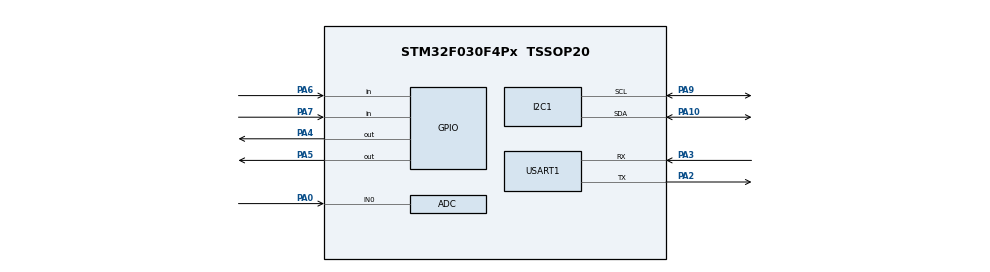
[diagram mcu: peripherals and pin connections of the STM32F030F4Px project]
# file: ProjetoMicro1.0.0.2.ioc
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Mcu.Family=STM32F0
Mcu.Name=STM32F030F4Px
Mcu.Package=TSSOP20
PA0.Mode=IN0
PA0.Signal=ADC_IN0
PA10.Mode=I2C
PA10.Signal=I2C1_SDA
PA13.Mode=Serial_Wire
PA13.Signal=SYS_SWDIO
PA14.Mode=Serial_Wire
PA14.Signal=SYS_SWCLK
PA2.Mode=Asynchronous
PA2.Signal=USART1_TX
PA3.Mode=Asynchronous
PA3.Signal=USART1_RX
PA4.Signal=GPIO_Output
PA5.Signal=GPIO_Output
PA6.GPIO_PuPd=GPIO_PULLDOWN
PA6.Signal=GPIO_Input
PA7.GPIO_PuPd=GPIO_PULLDOWN
PA7.Signal=GPIO_Input
PA9.Mode=I2C
PA9.Signal=I2C1_SCL
ProjectManager.HeapSize=0x200
ProjectManager.StackSize=0x400
ProjectManager.TargetToolchain=TrueSTUDIO
USART1.VirtualMode-Asynchronous=VM_ASYNC
VP_TIM1_VS_ClockSourceINT.Mode=Internal
board=custom

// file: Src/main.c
/**
  ******************************************************************************
  * @file           : main.c
  * @brief          : Main program body
  ******************************************************************************
  ** This notice applies to any and all portions of this file
  * that are not between comment pairs USER CODE BEGIN and
  * USER CODE END. Other portions of this file, whether
  * inserted by the user or by software development tools
  * are owned by their respective copyright owners.
  *
  * COPYRIGHT(c) 2018 STMicroelectronics
  *
  * Redistribution and use in source and binary forms, with or without modification,
  * are permitted provided that the following conditions are met:
  *   1. Redistributions of source code must retain the above copyright notice,
  *      this list of conditions and the following disclaimer.
  *   2. Redistributions in binary form must reproduce the above copyright notice,
  *      this list of conditions and the following disclaimer in the documentation
  *      and/or other materials provided with the distribution.
  *   3. Neither the name of STMicroelectronics nor the names of its contributors
  *      may be used to endorse or promote products derived from this software
  *      without specific prior written permission.
  *
  * THIS SOFTWARE IS PROVIDED BY THE COPYRIGHT HOLDERS AND CONTRIBUTORS "AS IS"
  * AND ANY EXPRESS OR IMPLIED WARRANTIES, INCLUDING, BUT NOT LIMITED TO, THE
  * IMPLIED WARRANTIES OF MERCHANTABILITY AND FITNESS FOR A PARTICULAR PURPOSE ARE
  * DISCLAIMED. IN NO EVENT SHALL THE COPYRIGHT HOLDER OR CONTRIBUTORS BE LIABLE
  * FOR ANY DIRECT, INDIRECT, INCIDENTAL, SPECIAL, EXEMPLARY, OR CONSEQUENTIAL
  * DAMAGES (INCLUDING, BUT NOT LIMITED TO, PROCUREMENT OF SUBSTITUTE GOODS OR
  * SERVICES; LOSS OF USE, DATA, OR PROFITS; OR BUSINESS INTERRUPTION) HOWEVER
  * CAUSED AND ON ANY THEORY OF LIABILITY, WHETHER IN CONTRACT, STRICT LIABILITY,
  * OR TORT (INCLUDING NEGLIGENCE OR OTHERWISE) ARISING IN ANY WAY OUT OF THE USE
  * OF THIS SOFTWARE, EVEN IF ADVISED OF THE POSSIBILITY OF SUCH DAMAGE.
  *
  ******************************************************************************
  */
#include "main.h"
#include "stm32f0xx_hal.h"
#include "i2c-lcd.h"
#include <stdio.h>

volatile uint32_t counter = 0;
void reverse(char *str, int len)
{
	int i=0, j=len-1, temp;
	while (i<j)
	{
    	temp = str[i];
    	str[i] = str[j];
    	str[j] = temp;
    	i++; j--;
	}
}

int intToStr(int x, char str[], int d)
{
	int i = 0;
	while (x)
	{
    	str[i++] = (x%10) + '0';
    	x = x/10;
	}

	// If number of digits required is more, then
	// add 0s at the beginning
	while (i < d)
    	str[i++] = '0';

	reverse(str, i);
	str[i] = '\0';
	return i;
}

// Converts a floating point number to string.
void ftoa(float n, char *res)
{
	// Extract integer part
	int ipart = (int)n;

	// Extract floating part
	float fpart = n - (float)ipart;

	// convert integer part to string
	int i = intToStr(ipart, res,0);

	// check for display option after point
	//if (afterpoint != 0)
	//{
    	res[i] = '.';  // add dot

    	// Get the value of fraction part upto given no.
    	// of points after dot. The third parameter is needed
    	// to handle cases like 233.007
     	fpart = fpart * 100.0 ; // pow(10, afterpoint);

    	intToStr((int)fpart, res + i + 1,2);
	//}
}

ADC_HandleTypeDef hadc;

I2C_HandleTypeDef hi2c1;

TIM_HandleTypeDef htim1;

UART_HandleTypeDef huart1;

/* USER CODE BEGIN PV */
/* Private variables ---------------------------------------------------------*/

/* USER CODE END PV */

void SystemClock_Config(void);
static void MX_GPIO_Init(void);
static void MX_ADC_Init(void);
static void MX_I2C1_Init(void);
static void MX_USART1_UART_Init(void);
static void MX_TIM1_Init(void);
void HAL_SYSTICK_Callback(void);
uint32_t getTick();

/* USER CODE BEGIN PFP */
/* Private function prototypes -----------------------------------------------*/

/* USER CODE END PFP */

int main(void)
{
  /* USER CODE BEGIN 1 */
	const float r = 253600.0;
	const float r2 = 4950.0;
  /* USER CODE END 1 */

  /* MCU Configuration----------------------------------------------------------*/

  /* Reset of all peripherals, Initializes the Flash interface and the Systick. */
  HAL_Init();

  /* Configure the system clock */
  SystemClock_Config();

  /* Initialize all configured peripherals */
  MX_GPIO_Init();
  MX_ADC_Init();
  MX_I2C1_Init();
  MX_USART1_UART_Init();
  MX_TIM1_Init();
  /* USER CODE BEGIN 2 */
  	lcd_init ();
	lcd_send_cmd(0x01);
	HAL_Delay(50);
	lcd_send_string("Selecione o modo");
	lcd_send_cmd(0xC0);
	lcd_send_string("C ou L");
	int a = 0;
	while(1){
	  if(HAL_GPIO_ReadPin(GPIOA,GPIO_PIN_7) == 1){
		  break;
	  }
	  if(HAL_GPIO_ReadPin(GPIOA,GPIO_PIN_6) == 1){
		  a = 1 ;
		  break;
	  }
	}
	while(HAL_GPIO_ReadPin(GPIOA,GPIO_PIN_7) == 1 || HAL_GPIO_ReadPin(GPIOA,GPIO_PIN_6) == 1);
	int iniTime = 0;
	int finTime = 0;
	HAL_UART_Init(&huart1);
	char teste[16];

  /* USER CODE END 2 */

  /* Infinite loop */
  /* USER CODE BEGIN WHILE */
  while (1)
  {

	  if(a == 0){
		  lcd_send_cmd(0x01);
		  HAL_Delay(50);
		  lcd_send_cmd(0x80);
		  lcd_send_string("Insira o cap.");
		  while(1){
			  if(HAL_GPIO_ReadPin(GPIOA,GPIO_PIN_7) == 1){
					  break;
				}
		  }
		  while(HAL_GPIO_ReadPin(GPIOA,GPIO_PIN_7) == 1);
			  lcd_send_cmd(0x01);
			  HAL_Delay(50);
			  lcd_send_cmd(0x80);
			  lcd_send_string("Medindo C...");
			  HAL_GPIO_WritePin(GPIOA,GPIO_PIN_4,1);

			  HAL_ADC_Start(&hadc);
			  while(HAL_ADC_GetValue(&hadc) < 2482 ){
					  HAL_ADC_Start(&hadc);
			  }
			  HAL_GPIO_WritePin(GPIOA,GPIO_PIN_4,0);
			  HAL_ADC_Start(&hadc);
			  iniTime = getTick();
			  while(HAL_ADC_GetValue(&hadc) > 914){
				  HAL_ADC_Start(&hadc);
			  }
			  finTime = getTick();
			  float rc = finTime - iniTime;
			  rc  =  rc/1000;
			  float C = rc/r;
			  char str[12];
			  char i = 0;
			  if (C <= 0.000001 && C >= 0.000000001 ){
				  C = C*1000000000.0;
			  }
			  if (C <= 0.001 && C > 0.000001){
				  C = C*1000000;
				  i = 1;
			  }
			  char strMat[10];
			  ftoa(C,str);
			  ftoa(C,strMat);
			  lcd_send_cmd(0x01);
			  HAL_Delay(50);
			  lcd_send_cmd(0x80);
			  if (i == 0){
				  int j = 0;
				  while(str[j] != '\0'){
					  j++;
				  }
				  str[j] = ' ';
				  str[j+1] = 'n';
				  str[j+2] = 'F';
			  }
			  else{
				  int j = 0;
				  while(str[j] != '\0'){
				  	  j++;
				  }
				  str[j] = ' ';
				  str[j+1] = 'u';
				  str[j+2] = 'F';
			  }
			  lcd_send_string(str);
			  char dado[4];
			  while(1){
				  HAL_UART_Receive(&huart1,(uint8_t *) dado,4,100);
				  while(dado[0] != 'b');
				  HAL_UART_Transmit(&huart1,(uint8_t *) strMat,10,100);
				  HAL_UART_Transmit(&huart1,(uint8_t *) '\n',1,100);
				  HAL_UART_Transmit(&huart1,(uint8_t *) i,1,100);
			  }
			  while(1){
						if(HAL_GPIO_ReadPin(GPIOA,GPIO_PIN_7) == 1){
								  break;
						 }
			  }
			  while(HAL_GPIO_ReadPin(GPIOA,GPIO_PIN_7) == 1);

	  	  }else {
	  		lcd_send_cmd(0x01);
			  HAL_Delay(50);
			  lcd_send_cmd(0x80);
			  lcd_send_string("Insira o ind...");
			  while(1){
				  if(HAL_GPIO_ReadPin(GPIOA,GPIO_PIN_6) == 1){
						  break;
					}
			  }
			  while(HAL_GPIO_ReadPin(GPIOA,GPIO_PIN_6) == 1);
				  lcd_send_cmd(0x01);
				  HAL_Delay(50);
				  lcd_send_cmd(0x80);
				  lcd_send_string("Medindo L...");
				  HAL_GPIO_WritePin(GPIOA,GPIO_PIN_5,1);
				  HAL_ADC_Start(&hadc);
				  iniTime = getTick();
				  while(HAL_ADC_GetValue(&hadc) > 1507){
					  HAL_ADC_Start(&hadc);
				  }
				  finTime = getTick();
				  float LdivR = finTime - iniTime;
				  float l = 0;
				  l = LdivR*r2;
				  char str[10];
				  lcd_send_cmd(0x01);
				  HAL_Delay(50);
				  lcd_send_cmd(0x80);
				  int i = 0;
				  if(l >= 0.001){
					  l*= 1000;
					  i = 0 ;
				  }else if (l < 0.001){
					  l*= 1000000;
				  }
				  char strMat[10];
				  ftoa(l,str);
				  ftoa(l,strMat);
				  if (i == 0){
					  int j = 0;
					  while(str[j] != '\0'){
						  j++;
					  }
					  str[j] = ' ';
					  str[j+1] = 'm';
					  str[j+2] = 'H';
				  }
				  else{
					  int j = 0;
					  while(str[j] != '\0'){
						  j++;
					  }
					  str[j] = ' ';
					  str[j+1] = 'u';
					  str[j+2] = 'H';
				  }
				  lcd_send_string(str);
				  char dado[4];
				  while(1){
					  HAL_UART_Receive(&huart1,(uint8_t *) dado,4,100);
					  while(dado[0] != 'b');
					  HAL_UART_Transmit(&huart1,(uint8_t *) strMat,10,100);
					  HAL_UART_Transmit(&huart1,(uint8_t *) '\n',1,100);
					  HAL_UART_Transmit(&huart1,(uint8_t *) i,1,100);
				  }
				  while(1){
							if(HAL_GPIO_ReadPin(GPIOA,GPIO_PIN_6) == 1){
									  break;
							 }
				  }
				  while(HAL_GPIO_ReadPin(GPIOA,GPIO_PIN_6) == 1);
	  	  }

  }
  /* USER CODE END WHILE */

}

void SystemClock_Config(void)
{

  RCC_OscInitTypeDef RCC_OscInitStruct;
  RCC_ClkInitTypeDef RCC_ClkInitStruct;
  RCC_PeriphCLKInitTypeDef PeriphClkInit;

    /**Initializes the CPU, AHB and APB busses clocks
    */
  RCC_OscInitStruct.OscillatorType = RCC_OSCILLATORTYPE_HSI|RCC_OSCILLATORTYPE_HSI14;
  RCC_OscInitStruct.HSIState = RCC_HSI_ON;
  RCC_OscInitStruct.HSI14State = RCC_HSI14_ON;
  RCC_OscInitStruct.HSICalibrationValue = 16;
  RCC_OscInitStruct.HSI14CalibrationValue = 16;
  RCC_OscInitStruct.PLL.PLLState = RCC_PLL_NONE;
  if (HAL_RCC_OscConfig(&RCC_OscInitStruct) != HAL_OK)
  {
    _Error_Handler(__FILE__, __LINE__);
  }

    /**Initializes the CPU, AHB and APB busses clocks
    */
  RCC_ClkInitStruct.ClockType = RCC_CLOCKTYPE_HCLK|RCC_CLOCKTYPE_SYSCLK
                              |RCC_CLOCKTYPE_PCLK1;
  RCC_ClkInitStruct.SYSCLKSource = RCC_SYSCLKSOURCE_HSI;
  RCC_ClkInitStruct.AHBCLKDivider = RCC_SYSCLK_DIV1;
  RCC_ClkInitStruct.APB1CLKDivider = RCC_HCLK_DIV1;

  if (HAL_RCC_ClockConfig(&RCC_ClkInitStruct, FLASH_LATENCY_0) != HAL_OK)
  {
    _Error_Handler(__FILE__, __LINE__);
  }

  PeriphClkInit.PeriphClockSelection = RCC_PERIPHCLK_USART1|RCC_PERIPHCLK_I2C1;
  PeriphClkInit.Usart1ClockSelection = RCC_USART1CLKSOURCE_PCLK1;
  PeriphClkInit.I2c1ClockSelection = RCC_I2C1CLKSOURCE_HSI;
  if (HAL_RCCEx_PeriphCLKConfig(&PeriphClkInit) != HAL_OK)
  {
    _Error_Handler(__FILE__, __LINE__);
  }

    /**Configure the Systick interrupt time
    */
  HAL_SYSTICK_Config(HAL_RCC_GetHCLKFreq()/1000);

    /**Configure the Systick
    */
  HAL_SYSTICK_CLKSourceConfig(SYSTICK_CLKSOURCE_HCLK);

  /* SysTick_IRQn interrupt configuration */
  HAL_NVIC_SetPriority(SysTick_IRQn, 0, 0);
}

/* ADC init function */
static void MX_ADC_Init(void)
{

  ADC_ChannelConfTypeDef sConfig;

    /**Configure the global features of the ADC (Clock, Resolution, Data Alignment and number of conversion)
    */
  hadc.Instance = ADC1;
  hadc.Init.ClockPrescaler = ADC_CLOCK_ASYNC_DIV1;
  hadc.Init.Resolution = ADC_RESOLUTION_12B;
  hadc.Init.DataAlign = ADC_DATAALIGN_RIGHT;
  hadc.Init.ScanConvMode = ADC_SCAN_DIRECTION_FORWARD;
  hadc.Init.EOCSelection = ADC_EOC_SINGLE_CONV;
  hadc.Init.LowPowerAutoWait = DISABLE;
  hadc.Init.LowPowerAutoPowerOff = DISABLE;
  hadc.Init.ContinuousConvMode = DISABLE;
  hadc.Init.DiscontinuousConvMode = DISABLE;
  hadc.Init.ExternalTrigConv = ADC_SOFTWARE_START;
  hadc.Init.ExternalTrigConvEdge = ADC_EXTERNALTRIGCONVEDGE_NONE;
  hadc.Init.DMAContinuousRequests = DISABLE;
  hadc.Init.Overrun = ADC_OVR_DATA_PRESERVED;
  if (HAL_ADC_Init(&hadc) != HAL_OK)
  {
    _Error_Handler(__FILE__, __LINE__);
  }

    /**Configure for the selected ADC regular channel to be converted.
    */
  sConfig.Channel = ADC_CHANNEL_0;
  sConfig.Rank = ADC_RANK_CHANNEL_NUMBER;
  sConfig.SamplingTime = ADC_SAMPLETIME_1CYCLE_5;
  if (HAL_ADC_ConfigChannel(&hadc, &sConfig) != HAL_OK)
  {
    _Error_Handler(__FILE__, __LINE__);
  }

}

uint32_t getTick(){
	return counter;
}

void HAL_SYSTICK_Callback(void){
	counter++;
}

/* I2C1 init function */
static void MX_I2C1_Init(void)
{

  hi2c1.Instance = I2C1;
  hi2c1.Init.Timing = 0x2000090E;
  hi2c1.Init.OwnAddress1 = 0;
  hi2c1.Init.AddressingMode = I2C_ADDRESSINGMODE_7BIT;
  hi2c1.Init.DualAddressMode = I2C_DUALADDRESS_DISABLE;
  hi2c1.Init.OwnAddress2 = 0;
  hi2c1.Init.OwnAddress2Masks = I2C_OA2_NOMASK;
  hi2c1.Init.GeneralCallMode = I2C_GENERALCALL_DISABLE;
  hi2c1.Init.NoStretchMode = I2C_NOSTRETCH_DISABLE;
  if (HAL_I2C_Init(&hi2c1) != HAL_OK)
  {
    _Error_Handler(__FILE__, __LINE__);
  }

    /**Configure Analogue filter
    */
  if (HAL_I2CEx_ConfigAnalogFilter(&hi2c1, I2C_ANALOGFILTER_ENABLE) != HAL_OK)
  {
    _Error_Handler(__FILE__, __LINE__);
  }

    /**Configure Digital filter
    */
  if (HAL_I2CEx_ConfigDigitalFilter(&hi2c1, 0) != HAL_OK)
  {
    _Error_Handler(__FILE__, __LINE__);
  }

}

/* TIM1 init function */
static void MX_TIM1_Init(void)
{

  TIM_ClockConfigTypeDef sClockSourceConfig;
  TIM_MasterConfigTypeDef sMasterConfig;

  htim1.Instance = TIM1;
  htim1.Init.Prescaler = 0;
  htim1.Init.CounterMode = TIM_COUNTERMODE_UP;
  htim1.Init.Period = 0;
  htim1.Init.ClockDivision = TIM_CLOCKDIVISION_DIV1;
  htim1.Init.RepetitionCounter = 0;
  htim1.Init.AutoReloadPreload = TIM_AUTORELOAD_PRELOAD_DISABLE;
  if (HAL_TIM_Base_Init(&htim1) != HAL_OK)
  {
    _Error_Handler(__FILE__, __LINE__);
  }

  sClockSourceConfig.ClockSource = TIM_CLOCKSOURCE_INTERNAL;
  if (HAL_TIM_ConfigClockSource(&htim1, &sClockSourceConfig) != HAL_OK)
  {
    _Error_Handler(__FILE__, __LINE__);
  }

  sMasterConfig.MasterOutputTrigger = TIM_TRGO_RESET;
  sMasterConfig.MasterSlaveMode = TIM_MASTERSLAVEMODE_DISABLE;
  if (HAL_TIMEx_MasterConfigSynchronization(&htim1, &sMasterConfig) != HAL_OK)
  {
    _Error_Handler(__FILE__, __LINE__);
  }

}

/* USART1 init function */
static void MX_USART1_UART_Init(void)
{

  huart1.Instance = USART1;
  huart1.Init.BaudRate = 9600;
  huart1.Init.WordLength = UART_WORDLENGTH_8B;
  huart1.Init.StopBits = UART_STOPBITS_1;
  huart1.Init.Parity = UART_PARITY_NONE;
  huart1.Init.Mode = UART_MODE_TX_RX;
  huart1.Init.HwFlowCtl = UART_HWCONTROL_NONE;
  huart1.Init.OverSampling = UART_OVERSAMPLING_16;
  huart1.Init.OneBitSampling = UART_ONE_BIT_SAMPLE_DISABLE;
  huart1.AdvancedInit.AdvFeatureInit = UART_ADVFEATURE_NO_INIT;
  if (HAL_UART_Init(&huart1) != HAL_OK)
  {
    _Error_Handler(__FILE__, __LINE__);
  }

}

/** Configure pins as
        * Analog
        * Input
        * Output
        * EVENT_OUT
        * EXTI
*/
static void MX_GPIO_Init(void)
{

  GPIO_InitTypeDef GPIO_InitStruct;

  /* GPIO Ports Clock Enable */
  __HAL_RCC_GPIOA_CLK_ENABLE();

  /*Configure GPIO pin Output Level */
  HAL_GPIO_WritePin(GPIOA, GPIO_PIN_4, GPIO_PIN_RESET);

  /*Configure GPIO pin : PA4 */
  GPIO_InitStruct.Pin = GPIO_PIN_4|GPIO_PIN_5;
  GPIO_InitStruct.Mode = GPIO_MODE_OUTPUT_PP;
  GPIO_InitStruct.Pull = GPIO_NOPULL;
  GPIO_InitStruct.Speed = GPIO_SPEED_FREQ_LOW;
  HAL_GPIO_Init(GPIOA, &GPIO_InitStruct);

  /*Configure GPIO pins : PA5 PA6 PA7 */
  GPIO_InitStruct.Pin = GPIO_PIN_6|GPIO_PIN_7;
  GPIO_InitStruct.Mode = GPIO_MODE_INPUT;
  GPIO_InitStruct.Pull = GPIO_PULLDOWN;
  HAL_GPIO_Init(GPIOA, &GPIO_InitStruct);

}

void _Error_Handler(char *file, int line)
{
  while(1)
  {
  }
}

/************************ (C) COPYRIGHT STMicroelectronics *****END OF FILE****/
